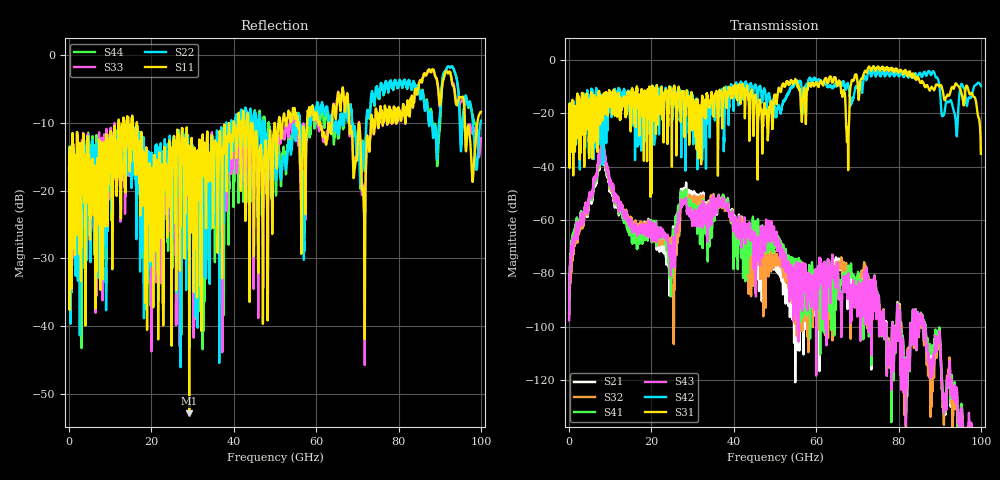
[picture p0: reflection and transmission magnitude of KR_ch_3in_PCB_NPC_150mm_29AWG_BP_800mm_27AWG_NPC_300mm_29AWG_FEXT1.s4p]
# GHz S RI R 45
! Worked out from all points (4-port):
!   4000 points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, 25 MHz to 100 GHz, reference 45 ohm
!   strongest paths, dB at 25 MHz, 25.02 GHz, 50.02 GHz, 75.03 GHz, 100 GHz:
!     S31: -21.2, -20.8, -13.2, -2.4, -35.2
!     S42: -21.3, -17.5, -18.0, -4.3, -9.8
!     S43: -97.6, -74.8, -66.5, -92.9, -139.2
!     S41: -94.8, -79.2, -67.1, -93.0, -140.7
!     S32: -94.7, -68.3, -75.2, -92.8, -145.1
!     S21: -88.7, -70.4, -77.9, -92.9, -145.9
!   lowest |S11| = -52.9 dB at 29.18 GHz (marker M1), VSWR 1.00, Z = 45.1 + j0.181 ohm
!   |S11| at or under -10 dB: start of sweep to 12.07 GHz; 16.48 GHz to 39.95 GHz (23.48 GHz wide, 83.2 % of centre); 44.4 GHz to 49.92 GHz (5.52 GHz wide, 11.7 % of centre) (the widest 3 of 41)
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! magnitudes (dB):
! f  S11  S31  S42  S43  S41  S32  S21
! 25 MHz  -16.5  -21.2  -21.3  -97.6  -94.8  -94.7  -88.7
! 8 GHz  -15.1  -20.7  -25.9  -31.4  -33.0  -32.7  -34.4
! 24.02 GHz  -19.1  -22.2  -16.5  -68.5  -72.5  -68.8  -74.4
! 29.18 GHz  -52.9  -31.8  -16.4  -55.7  -52.9  -50.5  -48.9
! 67.6 GHz  -5.6  -27.9  -9.9  -87.9  -84.4  -81.9  -90.7
! 77.2 GHz  -9.6  -2.7  -4.6  -114.3  -114.7  -109.5  -112.3
! 100 GHz  -8.4  -35.2  -9.8  -139.2  -140.7  -145.1  -145.9
